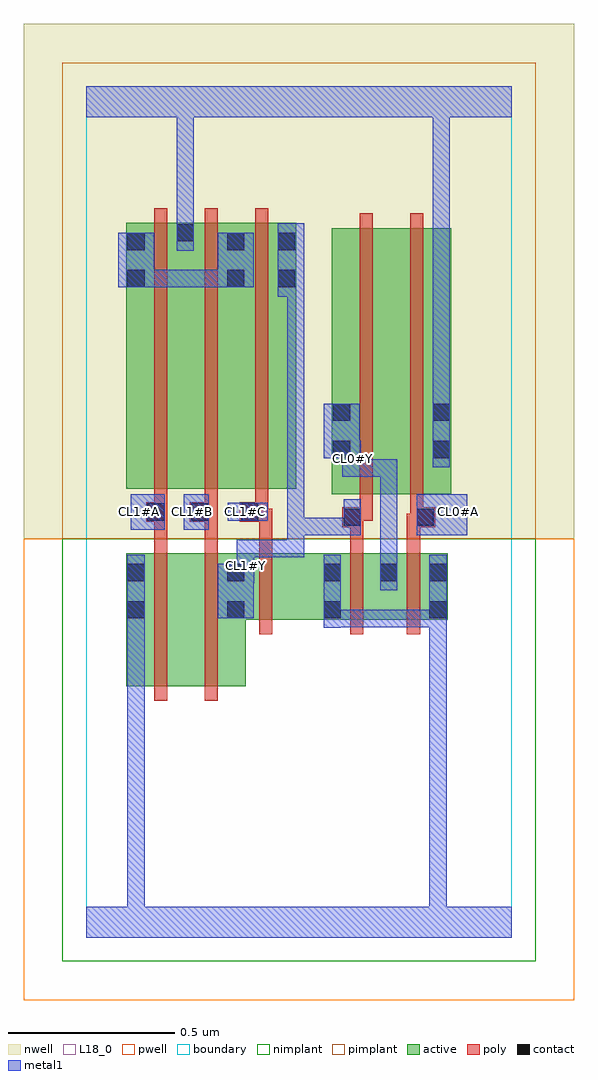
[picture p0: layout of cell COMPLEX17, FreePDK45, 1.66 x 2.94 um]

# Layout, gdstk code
import gdstk
lib = gdstk.Library(unit=1e-6, precision=1e-09)
def R(c, l, rs):  # rectangles x0, y0, x1, y1
    for r in rs: c.add(gdstk.rectangle(r[:2], r[2:], *l))
def A(c, l, x, y, w, h, nx, ny, dx, dy):  # array of equal rectangles
    R(c, l, [(x+i*dx, y+j*dy, x+i*dx+w, y+j*dy+h) for i in range(nx) for j in range(ny)])
active = (1, 0)
pwell = (2, 0)
nwell = (3, 0)
nimplant = (4, 0)
pimplant = (5, 0)
poly = (9, 0)
contact = (10, 0)
metal1 = (11, 0)
L18_0 = (18, 0)
boundary = (235, 0)

complex17 = lib.new_cell('COMPLEX17')
R(complex17, active, [(0.12,0.756,0.18,1.156), (0.12,0.756,0.3,1.156), (0.3,0.756,0.48,1.156), (0.42,0.756,0.48,1.156), (0.42,0.956,0.77,1.156), (0.71,0.956,0.77,1.156), (0.71,0.956,0.94,1.156), (0.88,0.956,0.94,1.156), (0.88,0.956,1.088,1.156), (1.028,0.956,1.088,1.156), (0.738,1.334,0.798,2.044), (0.738,1.334,0.918,2.134), (0.918,1.334,1.098,2.134), (1.038,1.334,1.098,2.044), (0.12,1.35,0.18,2.124), (0.12,1.35,0.328,2.15), (0.268,1.35,0.48,2.15), (0.42,1.35,0.632,2.15), (0.572,1.35,0.632,2.124), (0.268,1.686,0.328,2.15), (0.42,1.686,0.48,2.15)])
R(complex17, pwell, [(-0.188,-0.188,1.468,1.2)])
R(complex17, nwell, [(-0.188,1.2,1.468,2.748)])
R(complex17, nimplant, [(-0.072,-0.072,1.352,1.2)])
R(complex17, pimplant, [(-0.072,1.2,1.352,2.632)])
A(complex17, poly, 0.204, 1.27, 0.04, 0.076, 3, 1, 0.152, 0)
A(complex17, poly, 0.204, 1.306, 0.04, 0.888, 3, 1, 0.152, 0)
R(complex17, poly, [(0.204,0.712,0.244,1.2), (0.356,0.712,0.396,1.2), (0.52,0.912,0.56,1.2), (0.794,0.912,0.834,1.2), (0.964,0.912,1.004,1.2), (0.204,1.16,0.244,1.29), (0.356,1.16,0.396,1.29), (0.52,1.16,0.56,1.29), (0.794,1.16,0.834,1.274), (0.964,1.16,1.004,1.274), (0.77,1.234,0.834,1.294), (0.964,1.234,1.014,1.274), (0.974,1.234,1.014,1.274), (0.974,1.234,1.05,1.294), (0.18,1.25,0.244,1.31), (0.312,1.25,0.396,1.31), (0.462,1.25,0.548,1.31), (0.508,1.25,0.548,1.29), (0.508,1.25,0.56,1.29), (0.794,1.254,0.834,1.294), (0.794,1.254,0.862,1.294), (0.822,1.254,0.862,1.33), (0.974,1.254,1.014,1.33), (0.204,1.27,0.244,1.31), (0.204,1.27,0.244,1.31), (0.356,1.27,0.396,1.31), (0.356,1.27,0.396,1.31), (0.822,1.29,0.862,2.178), (0.974,1.29,1.014,2.178)])
R(complex17, contact, [(0.124,0.96,0.176,1.012), (0.424,0.96,0.476,1.012), (0.714,0.96,0.766,1.012), (1.032,0.96,1.084,1.012), (0.124,1.072,0.176,1.124), (0.424,1.072,0.476,1.124), (0.714,1.072,0.766,1.124), (0.884,1.072,0.936,1.124), (1.032,1.072,1.084,1.124), (0.774,1.238,0.826,1.29), (0.994,1.238,1.046,1.29), (0.184,1.254,0.236,1.306), (0.316,1.254,0.368,1.306), (0.466,1.254,0.518,1.306), (0.742,1.442,0.794,1.494), (1.042,1.442,1.094,1.494), (0.742,1.554,0.794,1.606), (1.042,1.554,1.094,1.606), (0.124,1.956,0.176,2.008), (0.424,1.956,0.476,2.008), (0.576,1.956,0.628,2.008), (0.124,2.068,0.176,2.12), (0.424,2.068,0.476,2.12), (0.576,2.068,0.628,2.12), (0.272,2.094,0.324,2.146)])
R(complex17, metal1, [(0,0,1.28,0.092), (0.124,0.04,0.176,0.092), (0.124,0.04,0.176,0.092), (0.124,0.04,0.176,0.092), (0.124,0.04,0.176,0.092), (0.124,0.04,0.176,0.092), (0.124,0.04,0.176,0.092), (0.124,0.04,0.176,0.984), (1.032,0.04,1.084,0.092), (1.032,0.04,1.084,0.092), (1.032,0.04,1.084,0.092), (1.032,0.04,1.084,0.092), (1.032,0.04,1.084,0.092), (1.032,0.04,1.084,0.092), (1.032,0.04,1.084,0.984), (0.124,0.932,0.176,0.984), (0.124,0.932,0.176,0.984), (0.124,0.932,0.176,0.984), (0.124,0.932,0.176,0.984), (0.124,0.932,0.176,0.984), (0.124,0.932,0.176,0.984), (0.124,0.932,0.176,1.152), (0.714,0.932,0.766,1.152), (1.032,0.932,1.084,0.984), (1.032,0.932,1.084,0.984), (1.032,0.932,1.084,0.984), (1.032,0.932,1.084,0.984), (1.032,0.932,1.084,0.984), (1.032,0.932,1.084,0.984), (1.032,0.932,1.084,0.984), (1.032,0.932,1.084,0.984), (1.032,0.932,1.084,0.984), (1.032,0.932,1.084,0.984), (1.032,0.932,1.084,1.152), (0.714,0.934,0.766,0.986), (0.714,0.934,0.766,0.986), (0.714,0.934,0.936,0.986), (0.884,0.934,0.936,0.986), (0.884,0.934,0.936,0.986), (0.884,0.934,0.936,0.986), (0.884,0.934,1.084,0.986), (0.396,0.96,0.504,1.124), (0.884,1.044,0.936,1.152), (0.452,1.066,0.506,1.196), (0.452,1.072,0.504,1.124), (0.884,1.1,0.936,1.152), (0.884,1.1,0.936,1.152), (0.884,1.1,0.936,1.438), (0.454,1.144,0.506,1.196), (0.454,1.144,0.506,1.196), (0.454,1.144,0.656,1.196), (0.604,1.144,0.656,1.262), (0.604,1.21,0.656,1.262), (0.604,1.21,0.656,1.262), (0.604,1.21,0.826,1.262), (0.604,1.21,0.656,1.98), (0.774,1.21,0.826,1.318), (0.994,1.21,1.146,1.334), (0.134,1.226,0.236,1.334), (0.294,1.226,0.368,1.334), (0.426,1.254,0.546,1.308), (0.77,1.386,0.826,1.494), (0.774,1.386,0.826,1.438), (0.774,1.386,0.826,1.438), (0.774,1.386,0.936,1.438), (0.884,1.386,0.936,1.438), (1.042,1.414,1.094,1.634), (0.714,1.442,0.822,1.606), (0.77,1.442,0.822,1.494), (1.042,1.582,1.094,1.634), (1.042,1.582,1.094,1.634), (1.042,1.582,1.094,1.634), (1.042,1.582,1.094,1.634), (1.042,1.582,1.094,1.634), (1.042,1.582,1.094,1.634), (1.042,1.582,1.094,1.634), (1.042,1.582,1.094,1.634), (1.042,1.582,1.094,2.52), (0.576,1.928,0.656,2.148), (0.604,1.928,0.656,1.98), (0.604,1.928,0.656,1.98), (0.096,1.956,0.204,2.12), (0.152,1.956,0.204,2.008), (0.152,1.956,0.204,2.008), (0.152,1.956,0.314,2.008), (0.262,1.956,0.314,2.008), (0.262,1.956,0.314,2.008), (0.262,1.956,0.314,2.008), (0.262,1.956,0.448,2.008), (0.396,1.956,0.504,2.12), (0.272,2.066,0.324,2.174), (0.272,2.122,0.324,2.174), (0.272,2.122,0.324,2.174), (0.272,2.122,0.324,2.174), (0.272,2.122,0.324,2.174), (0.272,2.122,0.324,2.174), (0.272,2.122,0.324,2.174), (0.272,2.122,0.324,2.174), (0.272,2.122,0.324,2.174), (0.272,2.122,0.324,2.52), (0,2.468,1.28,2.56)])
A(complex17, L18_0, 0.134, 1.254, 0.052, 0.052, 3, 1, 0.16, 0)
R(complex17, L18_0, [(0,0,1.28,0.092), (0.124,0.04,0.176,0.092), (0.124,0.04,0.176,0.092), (0.124,0.04,0.176,0.092), (0.124,0.04,0.176,0.092), (0.124,0.04,0.176,0.092), (0.124,0.04,0.176,0.092), (0.124,0.04,0.176,0.984), (1.032,0.04,1.084,0.092), (1.032,0.04,1.084,0.092), (1.032,0.04,1.084,0.092), (1.032,0.04,1.084,0.092), (1.032,0.04,1.084,0.092), (1.032,0.04,1.084,0.092), (1.032,0.04,1.084,0.984), (0.124,0.932,0.176,0.984), (0.124,0.932,0.176,0.984), (0.124,0.932,0.176,0.984), (0.124,0.932,0.176,0.984), (0.124,0.932,0.176,0.984), (0.124,0.932,0.176,0.984), (0.124,0.932,0.176,1.152), (0.714,0.932,0.766,1.152), (1.032,0.932,1.084,0.984), (1.032,0.932,1.084,0.984), (1.032,0.932,1.084,0.984), (1.032,0.932,1.084,0.984), (1.032,0.932,1.084,0.984), (1.032,0.932,1.084,0.984), (1.032,0.932,1.084,0.984), (1.032,0.932,1.084,0.984), (1.032,0.932,1.084,0.984), (1.032,0.932,1.084,0.984), (1.032,0.932,1.084,1.152), (0.714,0.934,0.766,0.986), (0.714,0.934,0.766,0.986), (0.714,0.934,0.936,0.986), (0.884,0.934,0.936,0.986), (0.884,0.934,0.936,0.986), (0.884,0.934,0.936,0.986), (0.884,0.934,1.084,0.986), (0.396,0.96,0.504,1.124), (0.884,1.044,0.936,1.152), (0.452,1.066,0.506,1.196), (0.452,1.072,0.504,1.124), (0.454,1.094,0.506,1.146), (0.884,1.1,0.936,1.152), (0.884,1.1,0.936,1.152), (0.884,1.1,0.936,1.438), (0.454,1.144,0.506,1.196), (0.454,1.144,0.506,1.196), (0.454,1.144,0.656,1.196), (0.604,1.144,0.656,1.262), (0.604,1.21,0.656,1.262), (0.604,1.21,0.656,1.262), (0.604,1.21,0.656,1.98), (0.604,1.21,0.826,1.262), (0.774,1.21,0.826,1.318), (0.994,1.21,1.146,1.334), (0.134,1.226,0.236,1.334), (0.294,1.226,0.368,1.334), (0.426,1.254,0.546,1.308), (1.094,1.254,1.146,1.306), (0.77,1.386,0.826,1.494), (0.774,1.386,0.826,1.438), (0.774,1.386,0.826,1.438), (0.774,1.386,0.936,1.438), (0.884,1.386,0.936,1.438), (0.774,1.414,0.826,1.466), (1.042,1.414,1.094,1.634), (0.714,1.442,0.822,1.606), (0.77,1.442,0.822,1.494), (1.042,1.582,1.094,1.634), (1.042,1.582,1.094,1.634), (1.042,1.582,1.094,1.634), (1.042,1.582,1.094,1.634), (1.042,1.582,1.094,1.634), (1.042,1.582,1.094,1.634), (1.042,1.582,1.094,1.634), (1.042,1.582,1.094,1.634), (1.042,1.582,1.094,2.52), (0.576,1.928,0.656,2.148), (0.604,1.928,0.656,1.98), (0.604,1.928,0.656,1.98), (0.272,2.066,0.324,2.174), (0.272,2.122,0.324,2.174), (0.272,2.122,0.324,2.174), (0.272,2.122,0.324,2.174), (0.272,2.122,0.324,2.174), (0.272,2.122,0.324,2.174), (0.272,2.122,0.324,2.174), (0.272,2.122,0.324,2.174), (0.272,2.122,0.324,2.174), (0.272,2.122,0.324,2.52), (0,2.468,1.28,2.56)])
R(complex17, boundary, [(0,0,1.28,2.56)])
complex17.add(gdstk.Label('CL0#A', (1.12,1.28), layer=11, texttype=0))
complex17.add(gdstk.Label('CL0#Y', (0.8,1.44), layer=11, texttype=0))
complex17.add(gdstk.Label('CL1#A', (0.16,1.28), layer=11, texttype=0))
complex17.add(gdstk.Label('CL1#B', (0.32,1.28), layer=11, texttype=0))
complex17.add(gdstk.Label('CL1#C', (0.48,1.28), layer=11, texttype=0))
complex17.add(gdstk.Label('CL1#Y', (0.48,1.12), layer=11, texttype=0))

lib.write_gds('COMPLEX17.gds')
